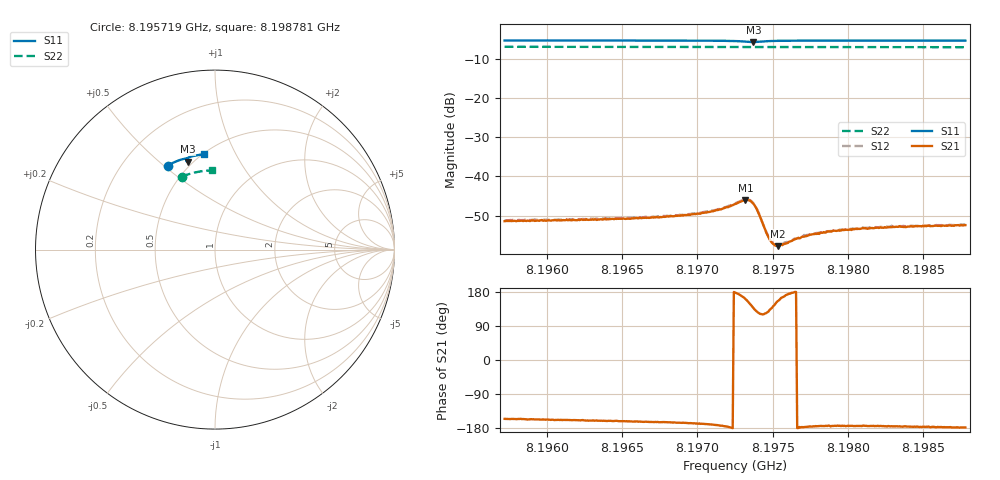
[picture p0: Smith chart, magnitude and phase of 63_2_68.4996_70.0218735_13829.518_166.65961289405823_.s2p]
#  HZ  S  RI  R  50.00
! Rohde & Schwarz Vector Network Analyzer
! Rohde-Schwarz,ZNB20-2Port,1311601062101988,3.16
! Created: UTC 3/20/2024, 4:51:19 PM
! freq[Hz]  re:S11  im:S11  re:S21  im:S21  re:S12  im:S12  re:S22  im:S22
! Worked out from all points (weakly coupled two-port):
!   401 points, 8.195719 GHz to 8.198781 GHz, reference 50 ohm
!   highest |S21| = -46.00 dB at 8.197319 GHz (marker M1); lowest = -57.7 dB at 8.197533 GHz (marker M2)
!   lowest |S11| = -5.8 dB at 8.197372 GHz (marker M3), VSWR 3.11, Z = 23.5 + j31.3 ohm
!   |S11| at or under -10 dB: nowhere
!   |S22| runs from -7.1 to -7.0 dB; largest |S21 - S12| = 0.00027
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8.195719e9  -0.2645 0.4679  -0.00245 -0.00113  -0.00254 -0.00106  -0.1836 0.4066
8.1962318e9  -0.2316 0.4844  -0.00265 -0.00103  -0.0027 -0.000948  -0.1568 0.4169
8.1967446e9  -0.197 0.4987  -0.00289 -0.000816  -0.00303 -0.000746  -0.1293 0.4253
8.1970125e9  -0.177 0.5049  -0.00328 -0.000735  -0.00339 -0.000558  -0.1147 0.4292
8.197135e9  -0.1665 0.5069  -0.0037 -0.000523  -0.00381 -0.000406  -0.1081 0.4306
8.1972498e9  -0.154 0.5055  -0.00444 0.000127  -0.00451 0.000321  -0.1016 0.4318
8.1973187e9  -0.1475 0.4982  -0.00474 0.00163  -0.00475 0.00186  -0.0979 0.4323
8.1973493e9  -0.1486 0.4927  -0.00416 0.0026  -0.00415 0.00281  -0.0962 0.4325
8.1973722e9  -0.1525 0.4901  -0.0033 0.00306  -0.00318 0.00322  -0.0951 0.4328
8.1974028e9  -0.1582 0.4915  -0.00203 0.00289  -0.00193 0.00303  -0.0935 0.4331
8.1974564e9  -0.1608 0.5001  -0.00108 0.00162  -0.00104 0.00173  -0.0907 0.4338
8.1974794e9  -0.1594 0.5034  -0.00106 0.00117  -0.00102 0.00127  -0.0894 0.4342
8.1975024e9  -0.1578 0.5058  -0.00108 0.000872  -0.00106 0.000922  -0.0881 0.4344
8.1975177e9  -0.1566 0.5071  -0.00111 0.000695  -0.00111 0.000787  -0.0873 0.4346
8.197533e9  -0.1552 0.5083  -0.00118 0.000542  -0.00117 0.00061  -0.0866 0.4347
8.1975789e9  -0.1511 0.5113  -0.00135 0.000283  -0.00141 0.000342  -0.0838 0.4352
8.1976554e9  -0.1445 0.5144  -0.00161 1.03e-05  -0.00161 5.95e-05  -0.0796 0.436
8.1976937e9  -0.1413 0.5156  -0.0017 -9.22e-05  -0.00171 -1.03e-05  -0.0775 0.4361
8.1977626e9  -0.1358 0.5174  -0.00183 -0.00014  -0.00186 -0.000102  -0.0736 0.4368
8.1979616e9  -0.1209 0.5215  -0.00207 -0.000244  -0.00211 -0.000136  -0.0624 0.4382
8.1982754e9  -0.0982 0.5261  -0.00225 -0.000206  -0.0023 -9.93e-05  -0.0447 0.4397
8.1987806e9  -0.062 0.531  -0.0024 -7.95e-05  -0.00247 2.85e-05  -0.0163 0.4408
